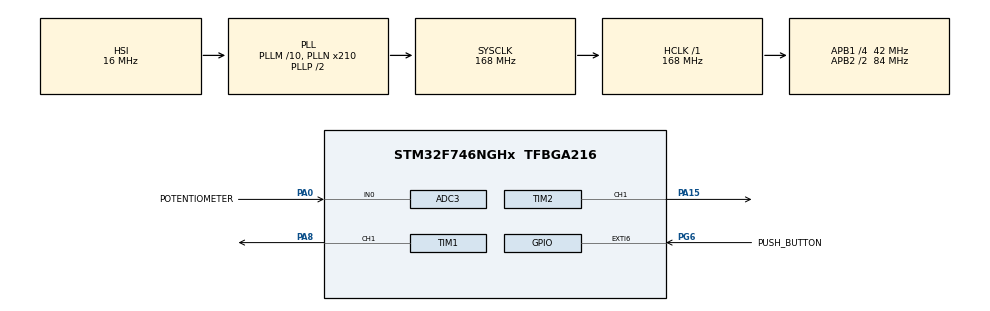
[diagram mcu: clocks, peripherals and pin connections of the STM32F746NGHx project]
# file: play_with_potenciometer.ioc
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ADC3.Channel-0\#ChannelRegularConversion=ADC_CHANNEL_0
ADC3.NbrOfConversionFlag=1
ADC3.Rank-0\#ChannelRegularConversion=1
ADC3.SamplingTime-0\#ChannelRegularConversion=ADC_SAMPLETIME_3CYCLES
Mcu.Family=STM32F7
Mcu.Name=STM32F746NGHx
Mcu.Package=TFBGA216
NVIC.EXTI9_5_IRQn=true\:1\:0\:true\:false\:true\:true\:true
NVIC.PriorityGroup=NVIC_PRIORITYGROUP_4
NVIC.TIM8_TRG_COM_TIM14_IRQn=true\:0\:0\:false\:false\:true\:false\:true
NVIC.TimeBase=TIM8_TRG_COM_TIM14_IRQn
NVIC.TimeBaseIP=TIM14
PA0/WKUP.GPIO_Label=POTENTIOMETER
PA0/WKUP.Signal=ADCx_IN0
PA13.Mode=Serial_Wire
PA13.Signal=SYS_JTMS-SWDIO
PA14.Mode=Serial_Wire
PA14.Signal=SYS_JTCK-SWCLK
PA15.Signal=S_TIM2_CH1_ETR
PA8.Signal=S_TIM1_CH1
PC14/OSC32_IN.Mode=LSE-External-Clock-Source
PC14/OSC32_IN.Signal=RCC_OSC32_IN
PC15/OSC32_OUT.Mode=LSE-External-Clock-Source
PC15/OSC32_OUT.Signal=RCC_OSC32_OUT
PG6.GPIO_Label=PUSH_BUTTON
PG6.GPIO_PuPd=GPIO_PULLDOWN
PG6.Signal=GPXTI6
PH0/OSC_IN.Mode=HSE-External-Oscillator
PH0/OSC_IN.Signal=RCC_OSC_IN
PH1/OSC_OUT.Mode=HSE-External-Oscillator
PH1/OSC_OUT.Signal=RCC_OSC_OUT
ProjectManager.HeapSize=0x200
ProjectManager.StackSize=0x400
ProjectManager.TargetToolchain=STM32CubeIDE
RCC.AHBFreq_Value=168000000
RCC.APB1CLKDivider=RCC_HCLK_DIV4
RCC.APB1Freq_Value=42000000
RCC.APB1TimFreq_Value=84000000
RCC.APB2CLKDivider=RCC_HCLK_DIV2
RCC.APB2Freq_Value=84000000
RCC.APB2TimFreq_Value=168000000
RCC.CortexFreq_Value=168000000
RCC.HCLKFreq_Value=168000000
RCC.HSE_VALUE=25000000
RCC.HSI_VALUE=16000000
RCC.LSE_VALUE=32768
RCC.PLLM=10
RCC.PLLN=210
RCC.PLLSourceVirtual=RCC_PLLSOURCE_HSI
RCC.SYSCLKFreq_VALUE=168000000
RCC.SYSCLKSource=RCC_SYSCLKSOURCE_PLLCLK
RCC.USBFreq_Value=168000000
RCC.VCOOutputFreq_Value=336000000
SH.ADCx_IN0.0=ADC3_IN0,IN0
SH.S_TIM1_CH1.0=TIM1_CH1,PWM Generation1 CH1
SH.S_TIM2_CH1_ETR.0=TIM2_CH1,PWM Generation1 CH1
TIM1.Channel-PWM\ Generation1\ CH1=TIM_CHANNEL_1
TIM1.Period=4096-1
TIM1.Prescaler=20-1
TIM1.Pulse-PWM\ Generation1\ CH1=280
TIM1.RepetitionCounter=0
TIM2.Channel-PWM\ Generation1\ CH1=TIM_CHANNEL_1
TIM2.Period=2800-1
TIM2.Prescaler=3000-1
TIM2.Pulse-PWM\ Generation1\ CH1=1400
VP_SYS_VS_tim14.Mode=TIM14
board=STM32F746G-DISCO

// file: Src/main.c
/* USER CODE BEGIN Header */
/**
  ******************************************************************************
  * @file           : main.c
  * @brief          : Main program body
  ******************************************************************************
  * @attention
  *
  * <h2><center>&copy; Copyright (c) 2019 STMicroelectronics.
  * All rights reserved.</center></h2>
  *
  * This software component is licensed by ST under BSD 3-Clause license,
  * the "License"; You may not use this file except in compliance with the
  * License. You may obtain a copy of the License at:
  *                        opensource.org/licenses/BSD-3-Clause
  *
  ******************************************************************************
  */
/* USER CODE END Header */

#include "main.h"
#include "adc.h"
#include "tim.h"
#include "gpio.h"

/* USER CODE BEGIN PD */
#define PERCENTAGE_LOW_LIMIT 5 //30
#define PERCENTAGE_HIGH_LIMIT 75 //100
#define FREQUENCY_LOW_LIMIT 100
#define FREQUENCY_HIGH_LIMIT 2000
#define FREQUENCY_TO_PRESCALER 30
/* USER CODE END PD */

/* USER CODE BEGIN PV */
uint16_t pot1_value = 0;
uint16_t prev_start_time = 0;
uint8_t mode;
typedef enum
{
  PWM = 0,
  PERIOD
}mode_t;

/* USER CODE END PV */

void SystemClock_Config(void);
/* USER CODE BEGIN PFP */
uint16_t calculate_ccr1(uint16_t pot1_value);
uint16_t calculate_psc(uint16_t pot1_value);
/* USER CODE END PFP */

int main(void)
{

  /* MCU Configuration--------------------------------------------------------*/

  /* Reset of all peripherals, Initializes the Flash interface and the Systick. */
  HAL_Init();

  /* USER CODE BEGIN Init */
  mode = PWM;
  /* USER CODE END Init */

  /* Configure the system clock */
  SystemClock_Config();

  /* Initialize all configured peripherals */
  MX_GPIO_Init();
  MX_TIM1_Init();
  MX_ADC3_Init();
  MX_TIM2_Init();
  /* USER CODE BEGIN 2 */
  HAL_TIM_PWM_Start(&htim1, TIM_CHANNEL_1);
  /* USER CODE END 2 */

  /* Infinite loop */
  /* USER CODE BEGIN WHILE */
  while (1)
  {
	HAL_ADC_Start(&hadc3);

	if (HAL_ADC_PollForConversion(&hadc3, 10) == HAL_OK) {
	  pot1_value = HAL_ADC_GetValue(&hadc3);
	  if(mode == PWM){
        TIM1->PSC = 20-1;
        TIM1->ARR = 4096-1;
        TIM1->CCR1 = calculate_ccr1(pot1_value);
	  }
	  if(mode == PERIOD){
        TIM1->PSC = calculate_psc(pot1_value);;
        TIM1->ARR = 2800-1;
        TIM1->CCR1 = 1400-1;
	  }
	}
    /* USER CODE END WHILE */

  }
}

void SystemClock_Config(void)
{
  RCC_OscInitTypeDef RCC_OscInitStruct = {0};
  RCC_ClkInitTypeDef RCC_ClkInitStruct = {0};

  /** Configure the main internal regulator output voltage
  */
  __HAL_RCC_PWR_CLK_ENABLE();
  __HAL_PWR_VOLTAGESCALING_CONFIG(PWR_REGULATOR_VOLTAGE_SCALE2);
  /** Initializes the CPU, AHB and APB busses clocks
  */
  RCC_OscInitStruct.OscillatorType = RCC_OSCILLATORTYPE_HSI;
  RCC_OscInitStruct.HSIState = RCC_HSI_ON;
  RCC_OscInitStruct.HSICalibrationValue = RCC_HSICALIBRATION_DEFAULT;
  RCC_OscInitStruct.PLL.PLLState = RCC_PLL_ON;
  RCC_OscInitStruct.PLL.PLLSource = RCC_PLLSOURCE_HSI;
  RCC_OscInitStruct.PLL.PLLM = 10;
  RCC_OscInitStruct.PLL.PLLN = 210;
  RCC_OscInitStruct.PLL.PLLP = RCC_PLLP_DIV2;
  RCC_OscInitStruct.PLL.PLLQ = 2;
  if (HAL_RCC_OscConfig(&RCC_OscInitStruct) != HAL_OK)
  {
    Error_Handler();
  }
  /** Initializes the CPU, AHB and APB busses clocks
  */
  RCC_ClkInitStruct.ClockType = RCC_CLOCKTYPE_HCLK|RCC_CLOCKTYPE_SYSCLK
                              |RCC_CLOCKTYPE_PCLK1|RCC_CLOCKTYPE_PCLK2;
  RCC_ClkInitStruct.SYSCLKSource = RCC_SYSCLKSOURCE_PLLCLK;
  RCC_ClkInitStruct.AHBCLKDivider = RCC_SYSCLK_DIV1;
  RCC_ClkInitStruct.APB1CLKDivider = RCC_HCLK_DIV4;
  RCC_ClkInitStruct.APB2CLKDivider = RCC_HCLK_DIV2;

  if (HAL_RCC_ClockConfig(&RCC_ClkInitStruct, FLASH_LATENCY_5) != HAL_OK)
  {
    Error_Handler();
  }
}

/* USER CODE BEGIN 4 */
uint16_t calculate_ccr1(uint16_t pot1_value)
{
  return pot1_value * (PERCENTAGE_HIGH_LIMIT - PERCENTAGE_LOW_LIMIT) / 100 + TIM1->ARR  * PERCENTAGE_LOW_LIMIT / 100;
}

uint16_t calculate_psc(uint16_t pot1_value)
{
  return (pot1_value * (FREQUENCY_HIGH_LIMIT - FREQUENCY_LOW_LIMIT) / 4096 + FREQUENCY_LOW_LIMIT) * FREQUENCY_TO_PRESCALER;
}

void HAL_GPIO_EXTI_Callback(uint16_t GPIO_Pin)
{
  if(GPIO_Pin == PUSH_BUTTON_Pin){
    if (HAL_GetTick() - 300 < prev_start_time) {
      return;
    }
    prev_start_time = HAL_GetTick();
    if (mode == PWM){
      mode = PERIOD;
    } else {
      mode = PWM;
    }
  }

}
/* USER CODE END 4 */

void HAL_TIM_PeriodElapsedCallback(TIM_HandleTypeDef *htim)
{
  if (htim->Instance == TIM14) {
    HAL_IncTick();
  }
}

void Error_Handler(void)
{
}

/************************ (C) COPYRIGHT STMicroelectronics *****END OF FILE****/
